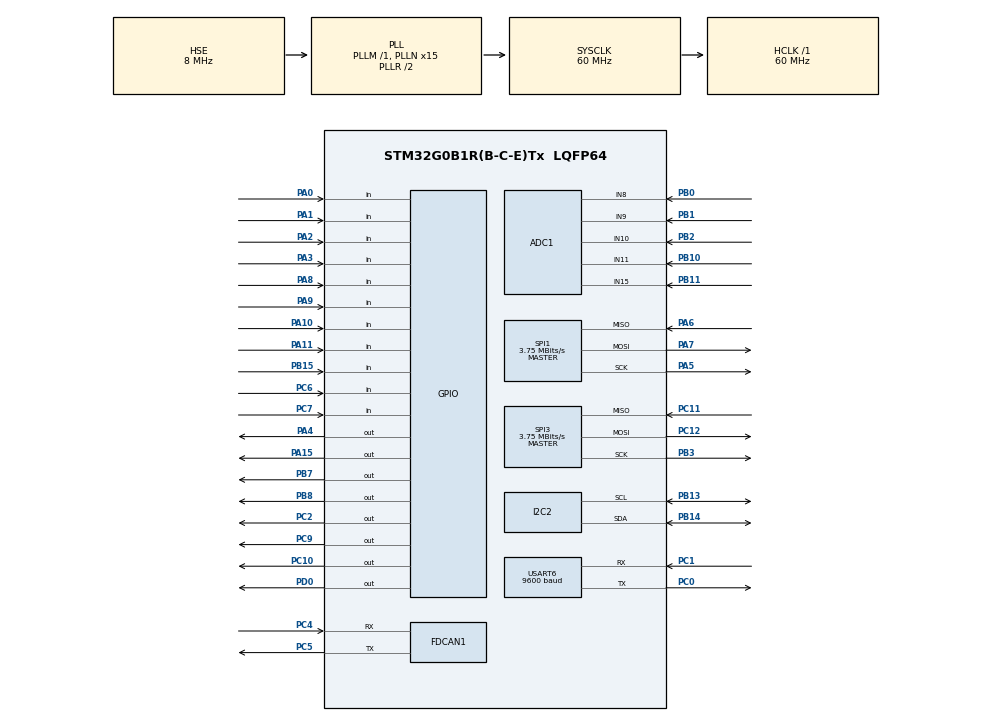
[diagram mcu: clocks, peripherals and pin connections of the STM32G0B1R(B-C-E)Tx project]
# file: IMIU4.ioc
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ADC1.NbrOfConversion=1
ADC1.NbrOfConversionFlag=0
ADC1.SamplingTimeCommon1=ADC_SAMPLETIME_160CYCLES_5
ADC1.SelectedChannel=ADC_CHANNEL_8|ADC_CHANNEL_9|ADC_CHANNEL_10|ADC_CHANNEL_11|ADC_CHANNEL_15
ADC1.Sequencer=NOT_FULLY_CONFIGURABLE
ADC1.TriggerFrequencyMode=ADC_TRIGGER_FREQ_LOW
ADC1.master=1
Dma.ADC1.5.Direction=DMA_PERIPH_TO_MEMORY
Dma.ADC1.5.EventEnable=DISABLE
Dma.ADC1.5.Instance=DMA1_Channel6
Dma.ADC1.5.MemDataAlignment=DMA_MDATAALIGN_HALFWORD
Dma.ADC1.5.MemInc=DMA_MINC_ENABLE
Dma.ADC1.5.Mode=DMA_CIRCULAR
Dma.ADC1.5.PeriphDataAlignment=DMA_PDATAALIGN_HALFWORD
Dma.ADC1.5.PeriphInc=DMA_PINC_DISABLE
Dma.ADC1.5.Polarity=HAL_DMAMUX_REQ_GEN_RISING
Dma.ADC1.5.Priority=DMA_PRIORITY_LOW
Dma.ADC1.5.RequestNumber=1
Dma.ADC1.5.SignalID=NONE
Dma.ADC1.5.SyncEnable=DISABLE
Dma.ADC1.5.SyncPolarity=HAL_DMAMUX_SYNC_NO_EVENT
Dma.ADC1.5.SyncRequestNumber=1
Dma.ADC1.5.SyncSignalID=NONE
Dma.Request0=USART6_RX
Dma.Request1=SPI1_RX
Dma.Request2=SPI3_RX
Dma.Request3=SPI1_TX
Dma.Request4=SPI3_TX
Dma.Request5=ADC1
Dma.SPI1_RX.1.Direction=DMA_PERIPH_TO_MEMORY
Dma.SPI1_RX.1.EventEnable=DISABLE
Dma.SPI1_RX.1.Instance=DMA1_Channel2
Dma.SPI1_RX.1.MemDataAlignment=DMA_MDATAALIGN_BYTE
Dma.SPI1_RX.1.MemInc=DMA_MINC_ENABLE
Dma.SPI1_RX.1.Mode=DMA_NORMAL
Dma.SPI1_RX.1.PeriphDataAlignment=DMA_PDATAALIGN_BYTE
Dma.SPI1_RX.1.PeriphInc=DMA_PINC_DISABLE
Dma.SPI1_RX.1.Polarity=HAL_DMAMUX_REQ_GEN_RISING
Dma.SPI1_RX.1.Priority=DMA_PRIORITY_LOW
Dma.SPI1_RX.1.RequestNumber=1
Dma.SPI1_RX.1.SignalID=NONE
Dma.SPI1_RX.1.SyncEnable=DISABLE
Dma.SPI1_RX.1.SyncPolarity=HAL_DMAMUX_SYNC_NO_EVENT
Dma.SPI1_RX.1.SyncRequestNumber=1
Dma.SPI1_RX.1.SyncSignalID=NONE
Dma.SPI1_TX.3.Direction=DMA_MEMORY_TO_PERIPH
Dma.SPI1_TX.3.EventEnable=DISABLE
Dma.SPI1_TX.3.Instance=DMA1_Channel4
Dma.SPI1_TX.3.MemDataAlignment=DMA_MDATAALIGN_BYTE
Dma.SPI1_TX.3.MemInc=DMA_MINC_ENABLE
Dma.SPI1_TX.3.Mode=DMA_NORMAL
Dma.SPI1_TX.3.PeriphDataAlignment=DMA_PDATAALIGN_BYTE
Dma.SPI1_TX.3.PeriphInc=DMA_PINC_DISABLE
Dma.SPI1_TX.3.Polarity=HAL_DMAMUX_REQ_GEN_RISING
Dma.SPI1_TX.3.Priority=DMA_PRIORITY_LOW
Dma.SPI1_TX.3.RequestNumber=1
Dma.SPI1_TX.3.SignalID=NONE
Dma.SPI1_TX.3.SyncEnable=DISABLE
Dma.SPI1_TX.3.SyncPolarity=HAL_DMAMUX_SYNC_NO_EVENT
Dma.SPI1_TX.3.SyncRequestNumber=1
Dma.SPI1_TX.3.SyncSignalID=NONE
Dma.SPI3_RX.2.Direction=DMA_PERIPH_TO_MEMORY
Dma.SPI3_RX.2.EventEnable=DISABLE
Dma.SPI3_RX.2.Instance=DMA1_Channel3
Dma.SPI3_RX.2.MemDataAlignment=DMA_MDATAALIGN_BYTE
Dma.SPI3_RX.2.MemInc=DMA_MINC_ENABLE
Dma.SPI3_RX.2.Mode=DMA_NORMAL
Dma.SPI3_RX.2.PeriphDataAlignment=DMA_PDATAALIGN_BYTE
Dma.SPI3_RX.2.PeriphInc=DMA_PINC_DISABLE
Dma.SPI3_RX.2.Polarity=HAL_DMAMUX_REQ_GEN_RISING
Dma.SPI3_RX.2.Priority=DMA_PRIORITY_LOW
Dma.SPI3_RX.2.RequestNumber=1
Dma.SPI3_RX.2.SignalID=NONE
Dma.SPI3_RX.2.SyncEnable=DISABLE
Dma.SPI3_RX.2.SyncPolarity=HAL_DMAMUX_SYNC_NO_EVENT
Dma.SPI3_RX.2.SyncRequestNumber=1
Dma.SPI3_RX.2.SyncSignalID=NONE
Dma.SPI3_TX.4.Direction=DMA_MEMORY_TO_PERIPH
Dma.SPI3_TX.4.EventEnable=DISABLE
Dma.SPI3_TX.4.Instance=DMA1_Channel5
Dma.SPI3_TX.4.MemDataAlignment=DMA_MDATAALIGN_BYTE
Dma.SPI3_TX.4.MemInc=DMA_MINC_ENABLE
Dma.SPI3_TX.4.Mode=DMA_NORMAL
Dma.SPI3_TX.4.PeriphDataAlignment=DMA_PDATAALIGN_BYTE
Dma.SPI3_TX.4.PeriphInc=DMA_PINC_DISABLE
Dma.SPI3_TX.4.Polarity=HAL_DMAMUX_REQ_GEN_RISING
Dma.SPI3_TX.4.Priority=DMA_PRIORITY_LOW
Dma.SPI3_TX.4.RequestNumber=1
Dma.SPI3_TX.4.SignalID=NONE
Dma.SPI3_TX.4.SyncEnable=DISABLE
Dma.SPI3_TX.4.SyncPolarity=HAL_DMAMUX_SYNC_NO_EVENT
Dma.SPI3_TX.4.SyncRequestNumber=1
Dma.SPI3_TX.4.SyncSignalID=NONE
Dma.USART6_RX.0.Direction=DMA_PERIPH_TO_MEMORY
Dma.USART6_RX.0.EventEnable=DISABLE
Dma.USART6_RX.0.Instance=DMA1_Channel1
Dma.USART6_RX.0.MemDataAlignment=DMA_MDATAALIGN_BYTE
Dma.USART6_RX.0.MemInc=DMA_MINC_ENABLE
Dma.USART6_RX.0.Mode=DMA_NORMAL
Dma.USART6_RX.0.PeriphDataAlignment=DMA_PDATAALIGN_BYTE
Dma.USART6_RX.0.PeriphInc=DMA_PINC_DISABLE
Dma.USART6_RX.0.Polarity=HAL_DMAMUX_REQ_GEN_RISING
Dma.USART6_RX.0.Priority=DMA_PRIORITY_HIGH
Dma.USART6_RX.0.RequestNumber=1
Dma.USART6_RX.0.SignalID=NONE
Dma.USART6_RX.0.SyncEnable=DISABLE
Dma.USART6_RX.0.SyncPolarity=HAL_DMAMUX_SYNC_NO_EVENT
Dma.USART6_RX.0.SyncRequestNumber=1
Dma.USART6_RX.0.SyncSignalID=NONE
FDCAN1.AutoRetransmission=ENABLE
FDCAN1.CalculateBaudRateNominal=1000000
FDCAN1.CalculateTimeBitNominal=1000
FDCAN1.CalculateTimeQuantumNominal=50.0
FDCAN1.ClockDivider=FDCAN_CLOCK_DIV1
FDCAN1.DataPrescaler=1
FDCAN1.DataSyncJumpWidth=2
FDCAN1.DataTimeSeg1=9
FDCAN1.DataTimeSeg2=2
FDCAN1.ExtFiltersNbr=1
FDCAN1.FrameFormat=FDCAN_FRAME_FD_BRS
FDCAN1.Mode=FDCAN_MODE_NORMAL
FDCAN1.NominalPrescaler=3
FDCAN1.NominalSyncJumpWidth=5
FDCAN1.NominalTimeSeg1=14
FDCAN1.NominalTimeSeg2=5
FDCAN1.StdFiltersNbr=1
FDCAN1.TransmitPause=ENABLE
FREERTOS.Tasks01=myTask01,3,256,StartTask01,Default,NULL,Dynamic,NULL,NULL;myTask02,2,256,StartTask02,Default,NULL,Dynamic,NULL,NULL;myTask03,1,256,StartTask03,Default,NULL,Dynamic,NULL,NULL;myTask04,0,256,StartTask04,Default,NULL,Dynamic,NULL,NULL;myTask05,0,256,StartTask05,Default,NULL,Dynamic,NULL,NULL;myTask06,-1,256,StartTask06,Default,NULL,Dynamic,NULL,NULL
FREERTOS.Timers01=myTimer1ms,TimerTask1ms,osTimerPeriodic,Default,NULL,Dynamic,NULL;myTimer5ms,TimerTask5ms,osTimerPeriodic,Default,NULL,Dynamic,NULL;myTimer10ms01,TimerTask10ms01,osTimerPeriodic,Default,NULL,Dynamic,NULL;myTimer10ms02,TimerTask10ms02,osTimerPeriodic,Default,NULL,Dynamic,NULL;myTimer10ms03,TimerTask10ms03,osTimerPeriodic,Default,NULL,Dynamic,NULL;myTimer50ms01,TimerTask50ms01,osTimerPeriodic,Default,NULL,Dynamic,NULL;myTimer50ms02,TimerTask50ms02,osTimerPeriodic,Default,NULL,Dynamic,NULL;myTimer50ms03,TimerTask50ms03,osTimerPeriodic,Default,NULL,Dynamic,NULL;myTimer100ms01,TimerTask100ms01,osTimerPeriodic,Default,NULL,Dynamic,NULL;myTimer100ms02,TimerTask100ms02,osTimerPeriodic,Default,NULL,Dynamic,NULL;myTimer100ms03,TimerTask100ms03,osTimerPeriodic,Default,NULL,Dynamic,NULL;myTimer500ms01,TimerTask500ms01,osTimerPeriodic,Default,NULL,Dynamic,NULL;myTimer500ms02,TimerTask500ms02,osTimerPeriodic,Default,NULL,Dynamic,NULL;myTimer500ms03,TimerTask500ms03,osTimerPeriodic,Default,NULL,Dynamic,NULL
FREERTOS.configMAX_PRIORITIES=10
FREERTOS.configTOTAL_HEAP_SIZE=15000
FREERTOS.configUSE_TIMERS=1
I2C2.Timing=0x107075B0
IWDG.Prescaler=IWDG_PRESCALER_32
IWDG.Reload=3000
IWDG.Window=3000
Mcu.Family=STM32G0
Mcu.Name=STM32G0B1R(B-C-E)Tx
Mcu.Package=LQFP64
NVIC.DMA1_Ch4_7_DMA2_Ch1_5_DMAMUX1_OVR_IRQn=true\:3\:0\:false\:false\:true\:true\:false\:true\:true
NVIC.DMA1_Channel1_IRQn=true\:3\:0\:false\:false\:true\:true\:false\:true\:true
NVIC.DMA1_Channel2_3_IRQn=true\:3\:0\:false\:false\:true\:true\:false\:true\:true
NVIC.TIM14_IRQn=true\:3\:0\:false\:false\:true\:false\:false\:true\:true
NVIC.TIM16_FDCAN_IT0_IRQn=true\:3\:0\:false\:false\:true\:true\:true\:true\:true
NVIC.TIM17_FDCAN_IT1_IRQn=true\:3\:0\:false\:false\:true\:true\:true\:true\:true
NVIC.TIM7_LPTIM2_IRQn=true\:3\:0\:false\:false\:true\:true\:true\:true\:true
NVIC.TimeBase=TIM14_IRQn
NVIC.TimeBaseIP=TIM14
NVIC.USART3_4_5_6_LPUART1_IRQn=true\:3\:0\:false\:false\:true\:true\:true\:true\:true
PA0.Signal=GPIO_Input
PA1.Signal=GPIO_Input
PA10.Signal=GPIO_Input
PA11\ [PA9].Signal=GPIO_Input
PA13.Mode=Serial_Wire
PA13.Signal=SYS_SWDIO
PA14-BOOT0.Mode=Serial_Wire
PA14-BOOT0.Signal=SYS_SWCLK
PA15.Signal=GPIO_Output
PA2.Signal=GPIO_Input
PA3.Signal=GPIO_Input
PA4.Signal=GPIO_Output
PA5.Mode=Full_Duplex_Master
PA5.Signal=SPI1_SCK
PA6.Mode=Full_Duplex_Master
PA6.Signal=SPI1_MISO
PA7.Mode=Full_Duplex_Master
PA7.Signal=SPI1_MOSI
PA8.Signal=GPIO_Input
PA9.Signal=GPIO_Input
PB0.Mode=IN8
PB0.Signal=ADC1_IN8
PB1.Mode=IN9
PB1.Signal=ADC1_IN9
PB10.Mode=IN11
PB10.Signal=ADC1_IN11
PB11.Mode=IN15
PB11.Signal=ADC1_IN15
PB13.Mode=I2C
PB13.Signal=I2C2_SCL
PB14.Mode=I2C
PB14.Signal=I2C2_SDA
PB15.Signal=GPIO_Input
PB2.Mode=IN10
PB2.Signal=ADC1_IN10
PB3.Mode=Full_Duplex_Master
PB3.Signal=SPI3_SCK
PB7.Signal=GPIO_Output
PB8.Signal=GPIO_Output
PC0.Mode=Asynchronous
PC0.Signal=USART6_TX
PC1.Mode=Asynchronous
PC1.Signal=USART6_RX
PC10.Signal=GPIO_Output
PC11.Mode=Full_Duplex_Master
PC11.Signal=SPI3_MISO
PC12.Mode=Full_Duplex_Master
PC12.Signal=SPI3_MOSI
PC2.Signal=GPIO_Output
PC4.GPIO_Speed=GPIO_SPEED_FREQ_VERY_HIGH
PC4.Mode=FDCAN_Activate
PC4.Signal=FDCAN1_RX
PC5.GPIO_Speed=GPIO_SPEED_FREQ_VERY_HIGH
PC5.Mode=FDCAN_Activate
PC5.Signal=FDCAN1_TX
PC6.Signal=GPIO_Input
PC7.Signal=GPIO_Input
PC9.Signal=GPIO_Output
PD0.Signal=GPIO_Output
PF0-OSC_IN\ (PF0).Mode=HSE-External-Oscillator
PF0-OSC_IN\ (PF0).Signal=RCC_OSC_IN
PF1-OSC_OUT\ (PF1).Mode=HSE-External-Oscillator
PF1-OSC_OUT\ (PF1).Signal=RCC_OSC_OUT
ProjectManager.HeapSize=0x200
ProjectManager.StackSize=0x400
ProjectManager.TargetToolchain=Makefile
RCC.ADCFreq_Value=60000000
RCC.AHBFreq_Value=60000000
RCC.CortexFreq_Value=60000000
RCC.EXTERNAL_CLOCK_VALUE=48000
RCC.HCLKFreq_Value=60000000
RCC.HSE_VALUE=8000000
RCC.HSI48_VALUE=48000000
RCC.HSI_VALUE=16000000
RCC.LSE_VALUE=32768
RCC.PLLN=15
RCC.PLLSourceVirtual=RCC_PLLSOURCE_HSE
RCC.SYSCLKFreq_VALUE=60000000
RCC.SYSCLKSource=RCC_SYSCLKSOURCE_PLLCLK
RCC.USBFreq_Value=48000000
RCC.VCOOutputFreq_Value=120000000
SPI1.BaudRatePrescaler=SPI_BAUDRATEPRESCALER_16
SPI1.CLKPhase=SPI_PHASE_1EDGE
SPI1.CalculateBaudRate=3.75 MBits/s
SPI1.Direction=SPI_DIRECTION_2LINES
SPI1.Mode=SPI_MODE_MASTER
SPI1.VirtualType=VM_MASTER
SPI3.BaudRatePrescaler=SPI_BAUDRATEPRESCALER_16
SPI3.CLKPhase=SPI_PHASE_2EDGE
SPI3.CalculateBaudRate=3.75 MBits/s
SPI3.Direction=SPI_DIRECTION_2LINES
SPI3.Mode=SPI_MODE_MASTER
SPI3.VirtualType=VM_MASTER
TIM6.AutoReloadPreload=TIM_AUTORELOAD_PRELOAD_ENABLE
TIM6.Period=65535
TIM6.Prescaler=60-1
TIM7.AutoReloadPreload=TIM_AUTORELOAD_PRELOAD_ENABLE
TIM7.Period=999
TIM7.Prescaler=60000-1
USART6.BaudRate=9600
USART6.VirtualMode-Asynchronous=VM_ASYNC
VP_FREERTOS_VS_CMSIS_V1.Mode=CMSIS_V1
VP_IWDG_VS_IWDG.Mode=IWDG_Activate
VP_SYS_VS_DBSignals.Mode=DisableDeadBatterySignals
VP_SYS_VS_tim14.Mode=TIM14
VP_TIM6_VS_ClockSourceINT.Mode=Enable_Timer
VP_TIM7_VS_ClockSourceINT.Mode=Enable_Timer
board=custom

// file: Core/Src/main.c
/* USER CODE BEGIN Header */
/**
  ******************************************************************************
  * @file           : main.c
  * @brief          : Main program body
  ******************************************************************************
  * @attention
  *
  * Copyright (c) 2024 STMicroelectronics.
  * All rights reserved.
  *
  * This software is licensed under terms that can be found in the LICENSE file
  * in the root directory of this software component.
  * If no LICENSE file comes with this software, it is provided AS-IS.
  *
  ******************************************************************************
  */
/* USER CODE END Header */
#include "main.h"
#include "cmsis_os.h"
#include "adc.h"
#include "dma.h"
#include "fdcan.h"
#include "i2c.h"
#include "iwdg.h"
#include "spi.h"
#include "tim.h"
#include "usart.h"
#include "gpio.h"

/* USER CODE BEGIN Includes */
#include "BSPConfig.h"
#include "Insulation.h"
#include "CANInterface.h"
#include "SystemPara.h"
#include "SystemDiag.h"
#include "BSPFLASH.h"
#include "LoadApp.h"
#include "cm_backtrace.h"
#include "BSPTIM.h"
#include "BSPIRQ.h"
#include "spi_async.h"
#include "can_uds_interface.h"
/* USER CODE END Includes */

/* USER CODE BEGIN PV */
unsigned long int RunTimers = 0;
/* USER CODE END PV */

void SystemClock_Config(void);
void MX_FREERTOS_Init(void);

int main(void)
{
  /* USER CODE BEGIN 1 */
  //  SCB->VTOR = (u32)FLASH_PART1_APP_ADDR;
 SCB->VTOR = 0x0800A000;

  cm_backtrace_init("imiu4","A00","1.01");

  BSPUserCfgInit();
  BSPDriverInit();
  DEVDriverInit();
  InitParameterArray();
  CANLibAllInit_API();
  DiagErrFilterInit();
  /* USER CODE END 2 */
  init_uds();
  APPLoaderInit();

  MX_FREERTOS_Init();

  /* Start scheduler */
  osKernelStart();

  /* We should never get here as control is now taken by the scheduler */
  /* Infinite loop */
  /* USER CODE BEGIN WHILE */
  while (1)
  {
    /* USER CODE END WHILE */

    /* USER CODE BEGIN 3 */
  }
  /* USER CODE END 3 */
}

/**
  * @brief System Clock Configuration
  * @retval None
  */
void SystemClock_Config(void)
{
  RCC_OscInitTypeDef RCC_OscInitStruct = {0};
  RCC_ClkInitTypeDef RCC_ClkInitStruct = {0};

  /** Configure the main internal regulator output voltage
  */
  HAL_PWREx_ControlVoltageScaling(PWR_REGULATOR_VOLTAGE_SCALE1);

  /** Initializes the RCC Oscillators according to the specified parameters
  * in the RCC_OscInitTypeDef structure.
  */
  RCC_OscInitStruct.OscillatorType = RCC_OSCILLATORTYPE_LSI|RCC_OSCILLATORTYPE_HSE;
  RCC_OscInitStruct.HSEState = RCC_HSE_ON;
  RCC_OscInitStruct.LSIState = RCC_LSI_ON;
  RCC_OscInitStruct.PLL.PLLState = RCC_PLL_ON;
  RCC_OscInitStruct.PLL.PLLSource = RCC_PLLSOURCE_HSE;
  RCC_OscInitStruct.PLL.PLLM = RCC_PLLM_DIV1;
  RCC_OscInitStruct.PLL.PLLN = 15;
  RCC_OscInitStruct.PLL.PLLP = RCC_PLLP_DIV2;
  RCC_OscInitStruct.PLL.PLLQ = RCC_PLLQ_DIV2;
  RCC_OscInitStruct.PLL.PLLR = RCC_PLLR_DIV2;
  if (HAL_RCC_OscConfig(&RCC_OscInitStruct) != HAL_OK)
  {
    Error_Handler();
  }

  /** Initializes the CPU, AHB and APB buses clocks
  */
  RCC_ClkInitStruct.ClockType = RCC_CLOCKTYPE_HCLK|RCC_CLOCKTYPE_SYSCLK
                              |RCC_CLOCKTYPE_PCLK1;
  RCC_ClkInitStruct.SYSCLKSource = RCC_SYSCLKSOURCE_PLLCLK;
  RCC_ClkInitStruct.AHBCLKDivider = RCC_SYSCLK_DIV1;
  RCC_ClkInitStruct.APB1CLKDivider = RCC_HCLK_DIV1;

  if (HAL_RCC_ClockConfig(&RCC_ClkInitStruct, FLASH_LATENCY_2) != HAL_OK)
  {
    Error_Handler();
  }
}

/* USER CODE BEGIN 4 */

/* USER CODE END 4 */

/**
  * @brief  Period elapsed callback in non blocking mode
  * @note   This function is called  when TIM14 interrupt took place, inside
  * HAL_TIM_IRQHandler(). It makes a direct call to HAL_IncTick() to increment
  * a global variable "uwTick" used as application time base.
  * @param  htim : TIM handle
  * @retval None
  */
void HAL_TIM_PeriodElapsedCallback(TIM_HandleTypeDef *htim)
{
  /* USER CODE BEGIN Callback 0 */

  /* USER CODE END Callback 0 */
  if (htim->Instance == TIM14) {
    HAL_IncTick();
  }
    /* USER CODE BEGIN Callback 1 */
    if (htim->Instance == TIM7)
    {
      RunTimers++;
      if(RunTimers >= 0x7fffffff)
      {
        RunTimers = 0;
    }
  }

  //TIM6周期回调  100μs周期中断
  if (htim->Instance == TIM6)
  {
    vSpiTimer_ISR(); // 处理SPI片选和队列发送时序
  }

  /* USER CODE END Callback 1 */
}

/**
  * @brief  This function is executed in case of error occurrence.
  * @retval None
  */
void Error_Handler(void)
{
  /* USER CODE BEGIN Error_Handler_Debug */
  /* User can add his own implementation to report the HAL error return state */
  __disable_irq();
  while (1)
  {
  }
  /* USER CODE END Error_Handler_Debug */
}

#ifdef  USE_FULL_ASSERT
/**
  * @brief  Reports the name of the source file and the source line number
  *         where the assert_param error has occurred.
  * @param  file: pointer to the source file name
  * @param  line: assert_param error line source number
  * @retval None
  */
void assert_failed(uint8_t *file, uint32_t line)
{
  /* USER CODE BEGIN 6 */
  /* User can add his own implementation to report the file name and line number,
     ex: printf("Wrong parameters value: file %s on line %d\r\n", file, line) */
  /* USER CODE END 6 */
}
#endif /* USE_FULL_ASSERT */

#if 0
/* USER CODE END 1 */

/* Reset of all peripherals, Initializes the Flash interface and the Systick. */
HAL_Init();

/* Configure the system clock */
SystemClock_Config();

/* Initialize all configured peripherals */
MX_GPIO_Init();
MX_DMA_Init();
MX_IWDG_Init();
MX_ADC1_Init();
MX_FDCAN1_Init();
MX_SPI3_Init();
MX_USART6_UART_Init();
MX_I2C2_Init();
MX_SPI1_Init();
MX_TIM6_Init();
MX_TIM7_Init();
/* USER CODE BEGIN 2 */
#endif

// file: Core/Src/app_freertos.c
/* USER CODE BEGIN Header */
/**
  ******************************************************************************
  * File Name          : app_freertos.c
  * Description        : Code for freertos applications
  ******************************************************************************
  * @attention
  *
  * Copyright (c) 2024 STMicroelectronics.
  * All rights reserved.
  *
  * This software is licensed under terms that can be found in the LICENSE file
  * in the root directory of this software component.
  * If no LICENSE file comes with this software, it is provided AS-IS.
  *
  ******************************************************************************
  */
/* USER CODE END Header */

#include "FreeRTOS.h"
#include "task.h"
#include "main.h"
#include "cmsis_os.h"
#include "FreeRTOS.h"

/* USER CODE BEGIN Includes */
#include "OSUserTasks.h"
#include "BSPTypeDef.h"
#include "SEGGER_RTT.h"
#include "SEGGER_RTT.h"
/* USER CODE END Includes */

/* USER CODE BEGIN PD */
#define STACK_MONITOR_ENABLE  1  /* 设为1启用堆栈水面监控日志 */
static unsigned long TaskMark1[6];
/* USER CODE END PD */

osThreadId myTask01Handle;
osThreadId myTask02Handle;
osThreadId myTask03Handle;
osThreadId myTask04Handle;
osThreadId myTask05Handle;
osThreadId myTask06Handle;
osTimerId myTimer1msHandle;
osTimerId myTimer5msHandle;
osTimerId myTimer10ms01Handle;
osTimerId myTimer10ms02Handle;
osTimerId myTimer10ms03Handle;
osTimerId myTimer50ms01Handle;
osTimerId myTimer50ms02Handle;
osTimerId myTimer50ms03Handle;
osTimerId myTimer100ms01Handle;
osTimerId myTimer100ms02Handle;
osTimerId myTimer100ms03Handle;
osTimerId myTimer500ms01Handle;
osTimerId myTimer500ms02Handle;
osTimerId myTimer500ms03Handle;

void StartTask01(void const * argument);
void StartTask02(void const * argument);
void StartTask03(void const * argument);
void StartTask04(void const * argument);
void StartTask05(void const * argument);
void StartTask06(void const * argument);
void TimerTask1ms(void const * argument);
void TimerTask5ms(void const * argument);
void TimerTask10ms01(void const * argument);
void TimerTask10ms02(void const * argument);
void TimerTask10ms03(void const * argument);
void TimerTask50ms01(void const * argument);
void TimerTask50ms02(void const * argument);
void TimerTask50ms03(void const * argument);
void TimerTask100ms01(void const * argument);
void TimerTask100ms02(void const * argument);
void TimerTask100ms03(void const * argument);
void TimerTask500ms01(void const * argument);
void TimerTask500ms02(void const * argument);
void TimerTask500ms03(void const * argument);

void MX_FREERTOS_Init(void); /* (MISRA C 2004 rule 8.1) */

void  MX_FREERTOS_Init(void) {

  /* Create the timer(s) */
  /* definition and creation of myTimer3ms */
  osTimerDef(myTimer1ms, TimerTask1ms);
  myTimer1msHandle = osTimerCreate(osTimer(myTimer1ms), osTimerPeriodic, NULL);

  /* definition and creation of myTimer5ms */
  osTimerDef(myTimer5ms, TimerTask5ms);
  myTimer5msHandle = osTimerCreate(osTimer(myTimer5ms), osTimerPeriodic, NULL);

  /* definition and creation of myTimer10ms01 */
  osTimerDef(myTimer10ms01, TimerTask10ms01);
  myTimer10ms01Handle = osTimerCreate(osTimer(myTimer10ms01), osTimerPeriodic, NULL);

  /* definition and creation of myTimer10ms02 */
  osTimerDef(myTimer10ms02, TimerTask10ms02);
  myTimer10ms02Handle = osTimerCreate(osTimer(myTimer10ms02), osTimerPeriodic, NULL);

  /* definition and creation of myTimer10ms03 */
  osTimerDef(myTimer10ms03, TimerTask10ms03);
  myTimer10ms03Handle = osTimerCreate(osTimer(myTimer10ms03), osTimerPeriodic, NULL);

  /* definition and creation of myTimer50ms01 */
  osTimerDef(myTimer50ms01, TimerTask50ms01);
  myTimer50ms01Handle = osTimerCreate(osTimer(myTimer50ms01), osTimerPeriodic, NULL);

  /* definition and creation of myTimer50ms02 */
  osTimerDef(myTimer50ms02, TimerTask50ms02);
  myTimer50ms02Handle = osTimerCreate(osTimer(myTimer50ms02), osTimerPeriodic, NULL);

  /* definition and creation of myTimer50ms03 */
  osTimerDef(myTimer50ms03, TimerTask50ms03);
  myTimer50ms03Handle = osTimerCreate(osTimer(myTimer50ms03), osTimerPeriodic, NULL);

  /* definition and creation of myTimer100ms01 */
  osTimerDef(myTimer100ms01, TimerTask100ms01);
  myTimer100ms01Handle = osTimerCreate(osTimer(myTimer100ms01), osTimerPeriodic, NULL);

  /* definition and creation of myTimer100ms02 */
  osTimerDef(myTimer100ms02, TimerTask100ms02);
  myTimer100ms02Handle = osTimerCreate(osTimer(myTimer100ms02), osTimerPeriodic, NULL);

  /* definition and creation of myTimer100ms03 */
  osTimerDef(myTimer100ms03, TimerTask100ms03);
  myTimer100ms03Handle = osTimerCreate(osTimer(myTimer100ms03), osTimerPeriodic, NULL);

  /* definition and creation of myTimer500ms01 */
  osTimerDef(myTimer500ms01, TimerTask500ms01);
  myTimer500ms01Handle = osTimerCreate(osTimer(myTimer500ms01), osTimerPeriodic, NULL);

  /* definition and creation of myTimer500ms02 */
  osTimerDef(myTimer500ms02, TimerTask500ms02);
  myTimer500ms02Handle = osTimerCreate(osTimer(myTimer500ms02), osTimerPeriodic, NULL);

  /* definition and creation of myTimer500ms03 */
  osTimerDef(myTimer500ms03, TimerTask500ms03);
  myTimer500ms03Handle = osTimerCreate(osTimer(myTimer500ms03), osTimerPeriodic, NULL);

  /* USER CODE BEGIN RTOS_TIMERS */
  /* start timers, add new ones, ... */
  osTimerStart(myTimer1msHandle,1);
  osTimerStart(myTimer5msHandle,5);
  osTimerStart(myTimer10ms01Handle,10);
  osTimerStart(myTimer10ms02Handle,10);
  osTimerStart(myTimer10ms03Handle,10);
  osTimerStart(myTimer50ms01Handle,50);
  osTimerStart(myTimer50ms02Handle,50);
  osTimerStart(myTimer50ms03Handle,50);
  osTimerStart(myTimer100ms01Handle,100);
  osTimerStart(myTimer100ms02Handle,100);
  osTimerStart(myTimer100ms03Handle,100);
  osTimerStart(myTimer500ms01Handle,500);
  osTimerStart(myTimer500ms02Handle,500);
  osTimerStart(myTimer500ms03Handle,500);
  /* USER CODE END RTOS_TIMERS */

  /* Create the thread(s) */
  /* definition and creation of myTask01 */
  osThreadDef(myTask01, StartTask01, osPriorityRealtime, 0, 128*8);
  myTask01Handle = osThreadCreate(osThread(myTask01), NULL);

  /* definition and creation of myTask02 */
  osThreadDef(myTask02, StartTask02, osPriorityHigh, 0, 128*16);
  myTask02Handle = osThreadCreate(osThread(myTask02), NULL);

  /* definition and creation of myTask03 */
  osThreadDef(myTask03, StartTask03, osPriorityHigh, 0, 128*8);
  myTask03Handle = osThreadCreate(osThread(myTask03), NULL);

  /* definition and creation of myTask04 */
  osThreadDef(myTask04, StartTask04, osPriorityNormal, 0, 128*24);
  myTask04Handle = osThreadCreate(osThread(myTask04), NULL);

  /* definition and creation of myTask05 */
  osThreadDef(myTask05, StartTask05, osPriorityBelowNormal, 0, 128*8);
  myTask05Handle = osThreadCreate(osThread(myTask05), NULL);

  /* definition and creation of myTask06 */
  osThreadDef(myTask06, StartTask06, osPriorityLow, 0, 128*24);
  myTask06Handle = osThreadCreate(osThread(myTask06), NULL);

}

void StartTask01(void const * argument)
{
  // TickType_t start_tick, end_tick;

  /* USER CODE BEGIN StartTask01 */
  /* Infinite loop */
  for(;;)
  {
    // start_tick = xTaskGetTickCount();

    PriorityRealtimeTask();

    // end_tick = xTaskGetTickCount();

    // SEGGER_RTT_printf(0,"StartTask01 start_tick (%08x)\r\n",start_tick);
    // SEGGER_RTT_printf(0,"StartTask01 end_tick (%08x)\r\n",end_tick);

    // TaskMark1[0] = uxTaskGetStackHighWaterMark(NULL);
    //  SEGGER_RTT_printf(0,"StartTask01 TaskMark1[0] (%d)\r\n",TaskMark1[0]);
    //  if (TaskMark1[0]<200)
    //  {
    //   SEGGER_RTT_printf(0," StartTask01 StackHighWater (%d)\r\n",TaskMark1[0]);
    //  }
#if STACK_MONITOR_ENABLE
    TaskMark1[0] = uxTaskGetStackHighWaterMark(NULL);
    if (TaskMark1[0] < 512)
    {
      SEGGER_RTT_printf(0, "WARN: StartTask01 StackLow (%lu)\r\n", TaskMark1[0]);
    }
#endif

    osDelay(1);
  }
  /* USER CODE END StartTask01 */
}

#if 0  /* === 原始StartTask02（保留备份）=== */
void StartTask02(void const * argument)
{

  /* USER CODE BEGIN StartTask02 */
  SEGGER_RTT_printf(0, "T02: watermark=%d\n", (int)uxTaskGetStackHighWaterMark(NULL));
  TickType_t start_tick, end_tick;

  /* Infinite loop */
  for(;;)
  {
    PriorityHighTask();

    TaskMark1[1] = uxTaskGetStackHighWaterMark(NULL);
#if STACK_MONITOR_ENABLE
    if (TaskMark1[1] < 512)
    {
      SEGGER_RTT_printf(0, "WARN: StartTask02 StackLow (%lu)\r\n", TaskMark1[1]);
    }
#endif
     osDelay(3);
  }
  /* USER CODE END StartTask02 */
}
#endif  /* === 原始StartTask02结束 === */

/* NEW: 使用vTaskDelayUntil实现精准10ms定周期采样 */
void StartTask02(void const * argument)
{
  /* USER CODE BEGIN StartTask02 */
  SEGGER_RTT_printf(0, "T02: watermark=%d\n", (int)uxTaskGetStackHighWaterMark(NULL));
  static int t02_loop_cnt = 0;
  TickType_t xLastWakeTime = xTaskGetTickCount();

  /* Infinite loop */
  for(;;)
  {
    PriorityHighTask();
    if (++t02_loop_cnt <= 3) SEGGER_RTT_printf(0, "T02 loop #%d\n", t02_loop_cnt);

    TaskMark1[1] = uxTaskGetStackHighWaterMark(NULL);
#if STACK_MONITOR_ENABLE
    if (TaskMark1[1] < 512)
    {
      SEGGER_RTT_printf(0, "WARN: StartTask02 StackLow (%lu)\r\n", TaskMark1[1]);
    }
#endif
    /* 精确10ms周期: 快路径(6ms SPI) + Calc3Fast(<1ms) + 剩余CPU时间归其他任务 */
    vTaskDelayUntil(&xLastWakeTime, pdMS_TO_TICKS(20));
    //osDelay(3);
  }
  /* USER CODE END StartTask02 */
}

void StartTask03(void const * argument)
{
  /* USER CODE BEGIN StartTask03 */
  // TickType_t start_tick, end_tick;

  /* Infinite loop */
  for(;;)
  {
    // start_tick = xTaskGetTickCount();

    PriorityAboveNormalTask();

    // end_tick = xTaskGetTickCount();

    // SEGGER_RTT_printf(0,"StartTask03 start_tick (%08x)\r\n",start_tick);
    //   SEGGER_RTT_printf(0,"StartTask03 end_tick (%08x)\r\n",end_tick);

    TaskMark1[2] = uxTaskGetStackHighWaterMark(NULL);

    // SEGGER_RTT_printf(0,"StartTask03 TaskMark1[2]  (%d)\r\n",TaskMark1[2]);
    // if (TaskMark1[2]<200)
    // {
    //  SEGGER_RTT_printf(0," StartTask03 StackHighWater (%d)\r\n",TaskMark1[2]);
    // }
    osDelay(1);
  }
  /* USER CODE END StartTask03 */
}

void StartTask04(void const * argument)
{
  /* USER CODE BEGIN StartTask04 */
  SEGGER_RTT_printf(0, "T04: watermark=%d\n", (int)uxTaskGetStackHighWaterMark(NULL));
  static int t04_loop_cnt = 0;
  // TickType_t start_tick, end_tick;

  /* Infinite loop */
  for(;;)
  {
    // start_tick = xTaskGetTickCount();
    PriorityNormalTask1();
    if (++t04_loop_cnt <= 3) SEGGER_RTT_printf(0, "T04 loop #%d\n", t04_loop_cnt);

    // end_tick = xTaskGetTickCount();

    // SEGGER_RTT_printf(0,"StartTask04 start_tick (%08x)\r\n",start_tick);
    // SEGGER_RTT_printf(0,"StartTask04 end_tick (%08x)\r\n",end_tick);

    TaskMark1[3] = uxTaskGetStackHighWaterMark(NULL);
    // SEGGER_RTT_printf(0,"StartTask04 TaskMark1[3]  (%d)\r\n",TaskMark1[3]);
    // if (TaskMark1[3]<200)
    // {
    //  SEGGER_RTT_printf(0," StartTask04 StackHighWater (%d)\r\n",TaskMark1[3]);
    // }
#if STACK_MONITOR_ENABLE
    if (TaskMark1[3] < 512)
    {
      SEGGER_RTT_printf(0, "WARN: StartTask04 StackLow (%lu)\r\n", TaskMark1[3]);
    }
#endif
      osDelay(5);
  }
  /* USER CODE END StartTask04 */
}

void StartTask05(void const * argument)
{
  /* USER CODE BEGIN StartTask05 */
  // TickType_t start_tick, end_tick;

  /* Infinite loop */

  for(;;)
  {
      // start_tick = xTaskGetTickCount();
      PriorityNormalTask2();
      // end_tick = xTaskGetTickCount();

      // SEGGER_RTT_printf(0,"StartTask05 start_tick (%08x)\r\n",start_tick);
      // SEGGER_RTT_printf(0,"StartTask05 end_tick (%08x)\r\n",end_tick);

      TaskMark1[4] = uxTaskGetStackHighWaterMark(NULL);
      // SEGGER_RTT_printf(0,"StartTask05 TaskMark1[4]  (%d)\r\n",TaskMark1[4]);
      // if (TaskMark1[4]<200)
      // {
      //  SEGGER_RTT_printf(0," StartTask05 StackHighWater (%d)\r\n",TaskMark1[4]);
      // }
      osDelay(5);
  }
  /* USER CODE END StartTask05 */
}

void StartTask06(void const * argument)
{
  /* USER CODE BEGIN StartTask06 */
  // TickType_t start_tick, end_tick;

  /* Infinite loop */
  for(;;)
  {
    // start_tick = xTaskGetTickCount();

    PriorityBelowNormalTask();

    // end_tick = xTaskGetTickCount();

    //  SEGGER_RTT_printf(0,"StartTask06 start_tick (%08x)\r\n",start_tick);
    //   SEGGER_RTT_printf(0,"StartTask06 end_tick (%08x)\r\n",end_tick);

    TaskMark1[5] = uxTaskGetStackHighWaterMark(NULL);
    // SEGGER_RTT_printf(0,"StartTask06 TaskMark1[5]  (%d)\r\n",TaskMark1[5]);
    // if (TaskMark1[5]<200)
    //   {
    //    SEGGER_RTT_printf(0," StartTask06 StackHighWater (%d)\r\n",TaskMark1[5]);
    //   }
    osDelay(20);
  }
  /* USER CODE END StartTask06 */
}

/* TimerTask1ms function */
void TimerTask1ms(void const * argument)
{
  /* USER CODE BEGIN TimerTask1ms */
    Task1ms();
  /* USER CODE END TimerTask1ms */
}

/* TimerTask5ms function */
void TimerTask5ms(void const * argument)
{
  /* USER CODE BEGIN TimerTask5ms */
  Task5ms();
  /* USER CODE END TimerTask5ms */
}

/* TimerTask10ms01 function */
void TimerTask10ms01(void const * argument)
{
  /* USER CODE BEGIN TimerTask10ms01 */
    static u8 state = 0;
    Task10ms();

    switch (state)
    {
        default:
            state = 0;

        case 0:
            Task50msBy10ms_1();
            Task100msBy10ms_1();
            break;

        case 1:
            Task50msBy10ms_2();
            Task100msBy10ms_2();
            break;

        case 2:
            Task50msBy10ms_3();
            Task100msBy10ms_3();
            break;

        case 3:
            Task50msBy10ms_4();
            Task100msBy10ms_4();
            break;

        case 4:
            Task50msBy10ms_5();
            Task100msBy10ms_5();
            break;

        case 5:
            Task50msBy10ms_1();
            Task100msBy10ms_6();
            break;

        case 6:
            Task50msBy10ms_2();
            Task100msBy10ms_7();
            break;

        case 7:
            Task50msBy10ms_3();
            Task100msBy10ms_8();

        case 8:
            Task50msBy10ms_4();
            Task100msBy10ms_9();
            break;

        case 9:
            Task50msBy10ms_5();
            break;
    }

    state ++;
    if(state >= 10)
    {
        state = 0;
    }
  /* USER CODE END TimerTask10ms01 */
}

/* TimerTask10ms02 function */
void TimerTask10ms02(void const * argument)
{
}

/* TimerTask10ms03 function */
void TimerTask10ms03(void const * argument)
{
}

/* TimerTask50ms01 function */
void TimerTask50ms01(void const * argument)
{
}

/* TimerTask50ms02 function */
void TimerTask50ms02(void const * argument)
{
}

/* TimerTask50ms03 function */
void TimerTask50ms03(void const * argument)
{
}

/* TimerTask100ms01 function */
void TimerTask100ms01(void const * argument)
{
  /* USER CODE BEGIN TimerTask100ms01 */
    static u8 state  = 0;
    static u8 state4 = 0;
    Task100ms();
    switch(state4)
    {
        default:
            state4 = 0;

        case 0:
            Task400msBy100ms_1();
            break;

        case 1:
            Task400msBy100ms_2();
            break;

        case 2:
            Task400msBy100ms_3();
            break;

        case 3:
            Task400msBy100ms_4();
            break;
    }

    state4++;
    if(state4 >= 4)
    {
        state4 = 0;
    }

    switch(state)
    {
        default:
            state = 0;

        case 0:
            Task1sBy100ms_1();
            break;

        case 1:
            Task1sBy100ms_2();
            break;

        case 2:
            Task1sBy100ms_3();
            break;

        case 3:
            Task1sBy100ms_4();
            break;

        case 4:
            Task1sBy100ms_5();
            break;

        case 5:
            Task1sBy100ms_6();
            break;

        case 6:
            Task1sBy100ms_7();
            break;

        case 7:
            Task1sBy100ms_8();
            break;

        case 8:
            Task1sBy100ms_9();
            break;

        case 9:
            Task1sBy100ms_10();
            break;
    }

    state++;
    if(state >= 10)
    {
        state = 0;
    }
  /* USER CODE END TimerTask100ms01 */
}

/* TimerTask100ms02 function */
void TimerTask100ms02(void const * argument)
{
}

/* TimerTask100ms03 function */
void TimerTask100ms03(void const * argument)
{
}

/* TimerTask500ms01 function */
void TimerTask500ms01(void const * argument)
{
  /* USER CODE BEGIN TimerTask500ms01 */
    static u8 state = 0;

    Task500ms();

    switch(state)
    {
        default:
            state = 0;

        case 0:
            Task1sBy500ms_1();
            Task2sBy500ms_1();
            break;

        case 1:
            Task1sBy500ms_2();
            Task2sBy500ms_2();
            break;

        case 2:
            Task1sBy500ms_1();
            Task2sBy500ms_3();
            break;

        case 3:
            Task1sBy500ms_2();
            Task2sBy500ms_4();
            break;
    }

    state ++;
    if(state >= 4)
    {
        state = 0;
    }
  /* USER CODE END TimerTask500ms01 */
}

/* TimerTask500ms02 function */
void TimerTask500ms02(void const * argument)
{
}

/* TimerTask500ms03 function */
void TimerTask500ms03(void const * argument)
{
}

/* USER CODE BEGIN Application */
void vApplicationStackOverflowHook(TaskHandle_t xTask, char *pcTaskName)
{
  (void)xTask;
  SEGGER_RTT_printf(0, "STACK OVERFLOW: %s\r\n", pcTaskName);
  taskDISABLE_INTERRUPTS();
  for(;;);
}

void vApplicationMallocFailedHook(void)
{
  SEGGER_RTT_printf(0, "MALLOC FAILED\r\n");
  taskDISABLE_INTERRUPTS();
  for(;;);
}
/* USER CODE END Application */
